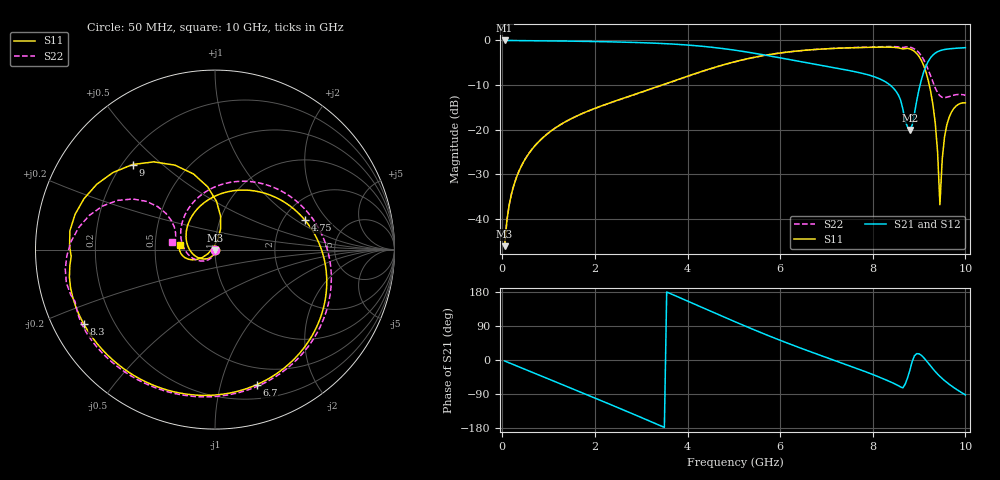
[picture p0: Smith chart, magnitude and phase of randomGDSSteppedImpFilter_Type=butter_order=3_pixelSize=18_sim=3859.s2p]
! freq	dB(S11)	phase(S11)	dB(S12)	phase(S12)
!  dB(S21)	phase(S21)	dB(S22)	phase(S22)
!S-par simulation data
#  GHz  S  DB  R 50
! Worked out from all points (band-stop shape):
!   200 points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, 50 MHz to 10 GHz, reference 50 ohm
!   highest |S21| = -0.01 dB at 50 MHz (marker M1); lowest = -20.1 dB at 8.8 GHz (marker M2)
!   |S21| within 3 dB of the highest: start of sweep to 5.516 GHz; 9.33 GHz to end of sweep
!   lowest |S11| = -46.2 dB at 50 MHz (marker M3), VSWR 1.01, Z = 50 - j0.49 ohm
!   |S11| at or under -10 dB: start of sweep to 3.453 GHz; 9.22 GHz to end of sweep
!   |S22| runs from -46.2 to -1.4 dB; largest |S21 - S12| = 0
!   S11 on the Smith chart (normalised r, x): 50 MHz: 1.00, -0.01; 4.75 GHz: 2.63, +1.19; 6.7 GHz: 0.33, -1.30; 8.3 GHz: 0.09, -0.26; 9 GHz: 0.24, +0.40; 10 GHz: 0.67, +0.03
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0.05  -46.20 -90.7  -0.01 -2.6  -0.01 -2.6  -46.17 -89.9
0.2  -34.41 -100.5  -0.02 -10.1  -0.02 -10.1  -34.40 -98.4
0.5  -26.55 -118.2  -0.04 -25.1  -0.04 -25.1  -26.54 -112.9
1.75  -16.30 172.3  -0.20 -87.8  -0.20 -87.8  -16.32 -170.4
2.5  -13.39 131.9  -0.35 -125.8  -0.35 -125.8  -13.42 153.7
3.4  -10.19 85.4  -0.66 -172.6  -0.66 -172.6  -10.24 106.8
4  -8.03 55.2  -1.03 155.6  -1.03 155.6  -8.07 73.5
4.75  -5.55 18.0  -1.81 115.5  -1.81 115.5  -5.58 31.3
5.05  -4.71 3.3  -2.23 99.6  -2.23 99.6  -4.73 14.7
5.85  -3.04 -34.8  -3.62 59.2  -3.62 59.2  -3.05 -27.0
6.7  -2.07 -72.9  -5.26 19.8  -5.26 19.8  -2.07 -66.8
7.55  -1.64 -110.6  -6.88 -17.6  -6.88 -17.6  -1.61 -103.4
8.3  -1.51 -150.6  -9.46 -53.3  -9.46 -53.3  -1.39 -138.5
8.35  -1.51 -153.9  -9.83 -56.0  -9.83 -56.0  -1.38 -141.2
8.8  -1.89 165.9  -20.10 -27.6  -20.10 -27.6  -1.50 -172.5
9  -3.61 134.1  -10.93 16.3  -10.93 16.3  -2.79 164.8
9.3  -14.50 80.5  -3.27 -23.5  -3.27 -23.5  -9.39 143.6
9.4  -25.15 74.6  -2.53 -37.2  -2.53 -37.2  -11.74 151.0
9.45  -36.89 142.8  -2.31 -43.3  -2.31 -43.3  -12.44 156.8
9.5  -26.63 -149.3  -2.15 -49.0  -2.15 -49.0  -12.78 162.5
9.6  -18.93 -151.3  -1.95 -59.4  -1.95 -59.4  -12.76 170.8
10  -14.03 172.8  -1.63 -92.1  -1.63 -92.1  -12.33 170.0
